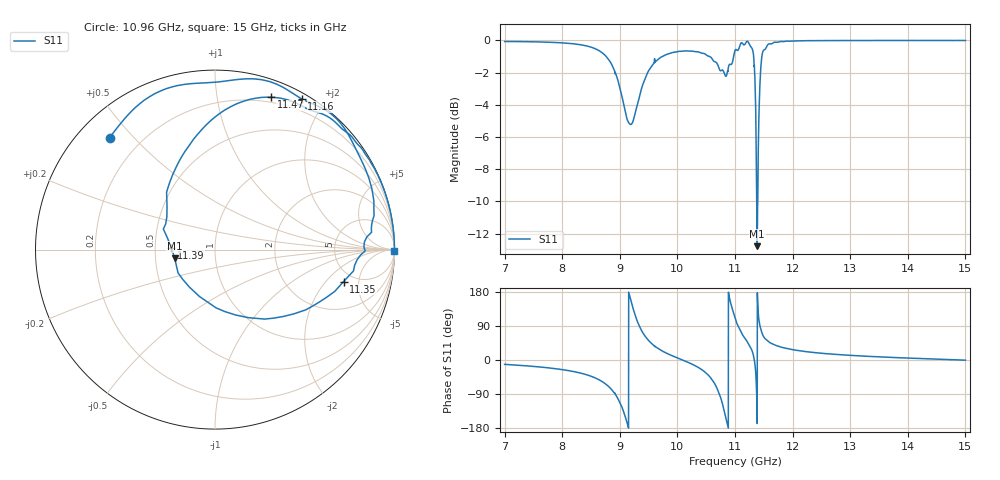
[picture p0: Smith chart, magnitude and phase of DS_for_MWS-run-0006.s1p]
! TOUCHSTONE file generated by CST DESIGN STUDIO
! Date and time: Mon Feb 10 16:46:57 2025
! Project name: C:\Work\MatlabApps\UnitCellType2OptimizationMatlab\CST\unitcell.cst
! Tree item: Tasks\Sweep1\SPara1\S-Parameters
! Header version: 2024
! Port assignment regex: !\s*Touchstone port\s*([0-9]+)\s*=\s*(CST MWS port|CST DES external port|CST DES block port)\s*(.+)\s* \(\"(.*)\"\)(\s*mode\s*([0-9]+))?.*
! Touchstone port assignment:
! Touchstone port 1 = CST DES external port 1 ("")
# GHz S MA R 50
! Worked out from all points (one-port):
!   4001 points, 7 GHz to 15 GHz, reference 50 ohm
!   lowest |S11| = -12.8 dB at 11.39 GHz (marker M1), VSWR 1.60, Z = 31.5 - j3.28 ohm
!   |S11| at or under -10 dB: 11.37634 GHz to 11.39485 GHz (18.52 MHz wide, 0.163 % of centre)
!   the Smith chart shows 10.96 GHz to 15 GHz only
!   S11 on the Smith chart (normalised r, x): 10.96 GHz: 0.09, +0.43; 11.16 GHz: 0.06, +1.73; 11.35 GHz: 4.06, -3.17; 11.39 GHz: 0.61, +0.01; 11.47 GHz: 0.15, +1.43; 15 GHz: open
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7  0.9925 -11.4
8  0.9829 -25.4
8.632  0.9316 -51.6
8.864  0.8392 -79.1
9  0.7126 -111.7
9.164  0.5525 173.3
9.354  0.6835 84.9
9.608  0.8562 36.4
10  0.9229 5.5
10.48  0.9081 -32.1
10.618  0.868 -55.7
10.726  0.8163 -89.2
10.792  0.8072 -121.6
10.862  0.7887 -165.8
10.956  0.8568 133.3
11  0.9315 111.1
11.16  0.9684 60.1
11.298  0.9428 23.7
11.348  0.738 -14.0
11.386  0.2297 -167.6
11.388  0.2435 177.3
11.418  0.6086 102.8
11.472  0.9057 69.7
11.618  0.9755 44.8
12  0.9967 27.3
13  0.9993 12.2
14  0.9999 5.1
15  0.9996 -0.5
